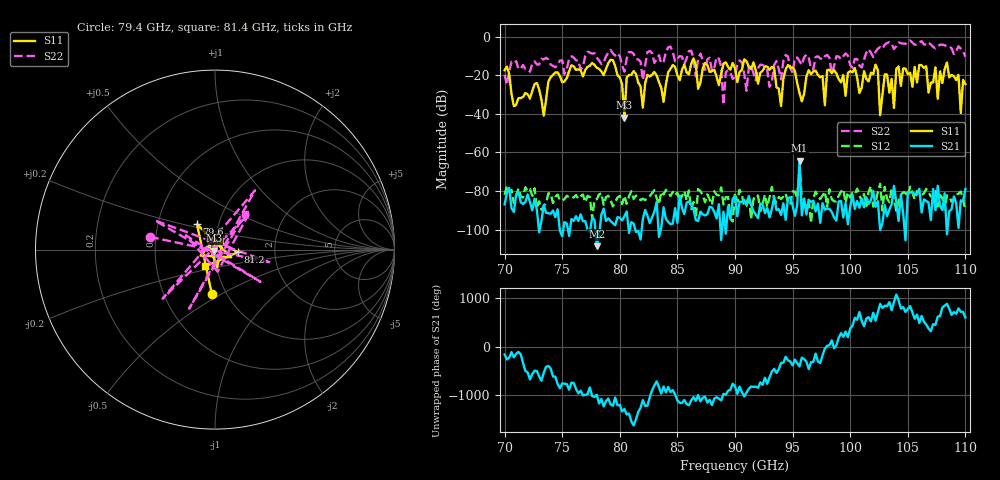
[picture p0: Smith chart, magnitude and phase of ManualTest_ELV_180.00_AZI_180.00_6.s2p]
! 11/25/2026 1:00:34 PM
! C:\ANRITSUVNA\TEMP\TEMP.S2P
! CHANNEL.1
! TR.MEASUREMENT
! RAW.DATA
# HZ S RI R 50.0
! FREQ.HZ  S11RE  S11IM  S21RE  S21IM  S12RE  S12IM  S22RE  S22IM
!; PortSelection: Port_12
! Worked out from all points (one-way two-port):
!   201 points, 70 GHz to 110 GHz, reference 50 ohm
!   highest |S21| = -64.35 dB at 95.6 GHz (marker M1); lowest = -108.6 dB at 78 GHz (marker M2)
!   lowest |S11| = -41.9 dB at 80.4 GHz (marker M3), VSWR 1.02, Z = 49.5 - j0.594 ohm
!   |S11| at or under -10 dB: start of sweep to end of sweep
!   |S22| runs from -35.4 to -2.0 dB; largest |S21 - S12| = 0.00096
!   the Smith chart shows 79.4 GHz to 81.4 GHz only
!   S11 on the Smith chart (normalised r, x): 79.4 GHz: 0.86, -0.45; 79.6 GHz: 0.79, +0.23; 81.2 GHz: 1.29, -0.04; 81.4 GHz: 0.88, -0.17
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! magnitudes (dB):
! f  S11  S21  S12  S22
! 70 GHz  -17.4  -87.0  -82.0  -19.8
! 73.4 GHz  -40.9  -87.3  -87.7  -11.8
! 74.2 GHz  -19.7  -90.2  -86.2  -15.2
! 76.8 GHz  -20.7  -95.7  -81.9  -15.4
! 78 GHz  -16.1  -108.6  -84.2  -10.8
! 79.4 GHz  -12.2  -96.7  -88.1  -8.7
! 79.6 GHz  -15.2  -97.7  -85.8  -9.8
! 80.4 GHz  -41.9  -93.0  -82.6  -18.1
! 81.2 GHz  -17.9  -96.9  -84.1  -8.9
! 81.4 GHz  -19.3  -101.2  -82.4  -11.6
! 82 GHz  -36.8  -94.6  -84.0  -22.6
! 83.4 GHz  -23.6  -103.8  -87.0  -9.7
! 88.6 GHz  -25.1  -86.9  -82.3  -11.5
! 89 GHz  -14.0  -90.7  -87.0  -35.4
! 90 GHz  -16.4  -82.7  -81.0  -20.8
! 95.4 GHz  -24.2  -87.3  -83.6  -10.8
! 95.6 GHz  -29.2  -64.4  -67.1  -12.6
! 96.8 GHz  -18.0  -85.0  -83.9  -16.9
! 97.8 GHz  -35.6  -89.7  -80.4  -10.1
! 98 GHz  -17.3  -89.2  -88.1  -9.5
! 103.4 GHz  -29.0  -89.6  -85.8  -2.9
! 110 GHz  -24.6  -79.0  -90.4  -10.4
